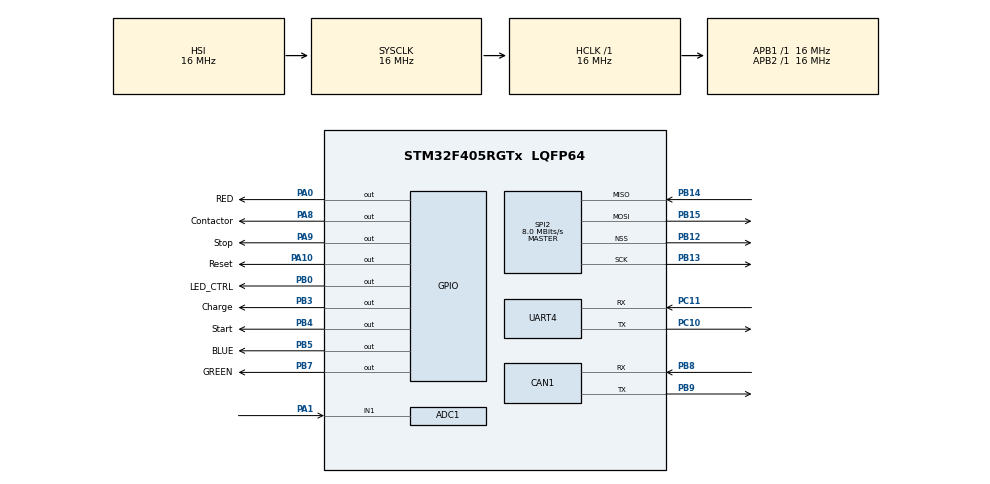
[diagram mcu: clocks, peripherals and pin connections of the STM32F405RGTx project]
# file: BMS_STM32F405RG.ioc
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Mcu.Family=STM32F4
SPI2.VirtualNSS=VM_NSSHARD
RCC.CortexFreq_Value=16000000
SPI2.VirtualType=VM_MASTER
PC10.Signal=UART4_TX
PB0.GPIO_Label=LED_CTRL
PB13.Signal=SPI2_SCK
PB15.Signal=SPI2_MOSI
ProjectManager.StackSize=0x400
VP_FREERTOS_VS_CMSIS_V2.Mode=CMSIS_V2
RCC.AHBFreq_Value=16000000
ADC1.Channel-0\#ChannelRegularConversion=ADC_CHANNEL_1
RCC.HSE_VALUE=25000000
PC14-OSC32_IN.Mode=LSE-External-Oscillator
PB14.Mode=Full_Duplex_Master
PA10.GPIO_Label=Reset
SPI2.CalculateBaudRate=8.0 MBits/s
PB7.Signal=GPIO_Output
PA8.Signal=GPIO_Output
ADC1.SamplingTime-0\#ChannelRegularConversion=ADC_SAMPLETIME_3CYCLES
PB7.GPIO_Label=GREEN
Mcu.Package=LQFP64
PB9.Signal=CAN1_TX
PB12.Mode=NSS_Signal_Hard_Output
SPI2.Mode=SPI_MODE_MASTER
PA10.Signal=GPIO_Output
PC11.Mode=Asynchronous
SH.ADCx_IN1.0=ADC1_IN1,IN1
PB5.GPIO_Label=BLUE
SPI2.Direction=SPI_DIRECTION_2LINES
PB13.Mode=Full_Duplex_Master
PB4.Signal=GPIO_Output
CAN1.CalculateTimeQuantum=1000.0
PB3.GPIO_Label=Charge
PC15-OSC32_OUT.Mode=LSE-External-Oscillator
FREERTOS.Tasks01=defaultTask,24,128,StartDefaultTask,Default,NULL,Dynamic,NULL,NULL;Measurements,32,128,StartMeasurments,Default,NULL,Dynamic,NULL,NULL
ADC1.Rank-0\#ChannelRegularConversion=1
PA9.GPIO_Label=Stop
PC11.Signal=UART4_RX
PC10.Mode=Asynchronous
UART4.VirtualMode=Asynchronous
PC14-OSC32_IN.Signal=RCC_OSC32_IN
PA0-WKUP.GPIO_Label=RED
PA0-WKUP.Signal=GPIO_Output
PA8.GPIO_Label=Contactor
ProjectManager.TargetToolchain=STM32CubeIDE
PB9.Mode=Master
PA9.Signal=GPIO_Output
PC15-OSC32_OUT.Signal=RCC_OSC32_OUT
PA1.Signal=ADCx_IN1
PB14.Signal=SPI2_MISO
board=custom
RCC.VCOOutputFreq_Value=192000000
PB15.Mode=Full_Duplex_Master
RCC.APB2Freq_Value=16000000
PB4.GPIO_Label=Start
Mcu.Name=STM32F405RGTx
PB3.Signal=GPIO_Output
RCC.SYSCLKFreq_VALUE=16000000
PB5.Signal=GPIO_Output
ADC1.master=1
ProjectManager.HeapSize=0x200
RCC.HSI_VALUE=16000000
NVIC.PriorityGroup=NVIC_PRIORITYGROUP_4
ADC1.NbrOfConversionFlag=1
PB8.Mode=Master
PB8.Signal=CAN1_RX
RCC.APB1Freq_Value=16000000
PB0.Signal=GPIO_Output
PB12.Signal=SPI2_NSS

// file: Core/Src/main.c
/* USER CODE BEGIN Header */
/**
  ******************************************************************************
  * @file           : main.c
  * @brief          : Main program body
  ******************************************************************************
  * @attention
  *
  * <h2><center>&copy; Copyright (c) 2020 STMicroelectronics.
  * All rights reserved.</center></h2>
  *
  * This software component is licensed by ST under BSD 3-Clause license,
  * the "License"; You may not use this file except in compliance with the
  * License. You may obtain a copy of the License at:
  *                        opensource.org/licenses/BSD-3-Clause
  *
  ******************************************************************************
  */
/* USER CODE END Header */
#include "main.h"
#include "cmsis_os.h"

/* USER CODE BEGIN Includes */
#include <stdio.h>
#include <string.h>
#include "led.h"
/* USER CODE END Includes */

ADC_HandleTypeDef hadc1;

CAN_HandleTypeDef hcan1;

SPI_HandleTypeDef hspi2;

UART_HandleTypeDef huart4;

/* Definitions for defaultTask */
osThreadId_t defaultTaskHandle;
const osThreadAttr_t defaultTask_attributes = {
  .name = "defaultTask",
  .priority = (osPriority_t) osPriorityNormal,
  .stack_size = 128 * 4
};
/* Definitions for Measurements */
osThreadId_t MeasurementsHandle;
const osThreadAttr_t Measurements_attributes = {
  .name = "Measurements",
  .priority = (osPriority_t) osPriorityAboveNormal,
  .stack_size = 128 * 4
};

void SystemClock_Config(void);
static void MX_GPIO_Init(void);
static void MX_CAN1_Init(void);
static void MX_SPI2_Init(void);
static void MX_ADC1_Init(void);
static void MX_UART4_Init(void);
void StartDefaultTask(void *argument);
void StartMeasurments(void *argument);

/* USER CODE BEGIN 0 */

/* Initializing a structure variable for the battery pack */
Battery BatteryPack;

void BatteryInit(void) {
	BatteryPack.voltage = 0;
	BatteryPack.current = 0;
	BatteryPack.temperature = 0;
	for (int i = 0; i < numCells; i++) {
		Cell cell = {
			.voltage = 0,
			.temperature = 0
		};
		BatteryPack.cells[i] = cell;
	}
}

/* This is created to display the state name in serial terminal. */
const char *StateNames[] = {
  "Initialize",
  "Idle",
  "Precharging",
  "Run",
  "Stop",
  "Sleep",
  "NormalDangerFault",
  "SevereDangerFault",
  "Charging",
  "Charged",
  "Balancing"
};

State_t CurrentState = Initialize;
State_t OldState = Sleep;

StateMachine SM[11] = {
    {Initialize, InitializeEvent},
	{Idle, IdleEvent},
	{Precharging, PrechargingEvent},
	{Run, RunEvent},
	{Stop, StopEvent},
	{Sleep, SleepEvent},
	{NormalDangerFault, NormalDangerFaultEvent},
	{SevereDangerFault, SevereDangerFaultEvent},
	{Charging, ChargingEvent},
	{Charged, ChargedEvent},
	{Balancing, BalancingEvent}
};

/* USER CODE END 0 */

int main(void)
{

  /* MCU Configuration--------------------------------------------------------*/

  /* Reset of all peripherals, Initializes the Flash interface and the Systick. */
  HAL_Init();

  /* Configure the system clock */
  SystemClock_Config();

  /* Initialize all configured peripherals */
  MX_GPIO_Init();
  MX_CAN1_Init();
  MX_SPI2_Init();
  MX_ADC1_Init();
  MX_UART4_Init();
  /* USER CODE BEGIN 2 */
  BatteryInit();
  /* USER CODE END 2 */

  /* Init scheduler */
  osKernelInitialize();

  /* Create the thread(s) */
  /* creation of defaultTask */
  defaultTaskHandle = osThreadNew(StartDefaultTask, NULL, &defaultTask_attributes);

  /* creation of Measurements */
  MeasurementsHandle = osThreadNew(StartMeasurments, NULL, &Measurements_attributes);

  /* Start scheduler */
  osKernelStart();

  /* We should never get here as control is now taken by the scheduler */
  /* Infinite loop */
  while (1)
  {

  }
}

void SystemClock_Config(void)
{
  RCC_OscInitTypeDef RCC_OscInitStruct = {0};
  RCC_ClkInitTypeDef RCC_ClkInitStruct = {0};

  /** Configure the main internal regulator output voltage
  */
  __HAL_RCC_PWR_CLK_ENABLE();
  __HAL_PWR_VOLTAGESCALING_CONFIG(PWR_REGULATOR_VOLTAGE_SCALE1);
  /** Initializes the RCC Oscillators according to the specified parameters
  * in the RCC_OscInitTypeDef structure.
  */
  RCC_OscInitStruct.OscillatorType = RCC_OSCILLATORTYPE_HSI;
  RCC_OscInitStruct.HSIState = RCC_HSI_ON;
  RCC_OscInitStruct.HSICalibrationValue = RCC_HSICALIBRATION_DEFAULT;
  RCC_OscInitStruct.PLL.PLLState = RCC_PLL_NONE;
  if (HAL_RCC_OscConfig(&RCC_OscInitStruct) != HAL_OK)
  {
    Error_Handler();
  }
  /** Initializes the CPU, AHB and APB buses clocks
  */
  RCC_ClkInitStruct.ClockType = RCC_CLOCKTYPE_HCLK|RCC_CLOCKTYPE_SYSCLK
                              |RCC_CLOCKTYPE_PCLK1|RCC_CLOCKTYPE_PCLK2;
  RCC_ClkInitStruct.SYSCLKSource = RCC_SYSCLKSOURCE_HSI;
  RCC_ClkInitStruct.AHBCLKDivider = RCC_SYSCLK_DIV1;
  RCC_ClkInitStruct.APB1CLKDivider = RCC_HCLK_DIV1;
  RCC_ClkInitStruct.APB2CLKDivider = RCC_HCLK_DIV1;

  if (HAL_RCC_ClockConfig(&RCC_ClkInitStruct, FLASH_LATENCY_0) != HAL_OK)
  {
    Error_Handler();
  }
}

static void MX_ADC1_Init(void)
{

  ADC_ChannelConfTypeDef sConfig = {0};

  /** Configure the global features of the ADC (Clock, Resolution, Data Alignment and number of conversion)
  */
  hadc1.Instance = ADC1;
  hadc1.Init.ClockPrescaler = ADC_CLOCK_SYNC_PCLK_DIV2;
  hadc1.Init.Resolution = ADC_RESOLUTION_12B;
  hadc1.Init.ScanConvMode = DISABLE;
  hadc1.Init.ContinuousConvMode = DISABLE;
  hadc1.Init.DiscontinuousConvMode = DISABLE;
  hadc1.Init.ExternalTrigConvEdge = ADC_EXTERNALTRIGCONVEDGE_NONE;
  hadc1.Init.ExternalTrigConv = ADC_SOFTWARE_START;
  hadc1.Init.DataAlign = ADC_DATAALIGN_RIGHT;
  hadc1.Init.NbrOfConversion = 1;
  hadc1.Init.DMAContinuousRequests = DISABLE;
  hadc1.Init.EOCSelection = ADC_EOC_SINGLE_CONV;
  if (HAL_ADC_Init(&hadc1) != HAL_OK)
  {
    Error_Handler();
  }
  /** Configure for the selected ADC regular channel its corresponding rank in the sequencer and its sample time.
  */
  sConfig.Channel = ADC_CHANNEL_1;
  sConfig.Rank = 1;
  sConfig.SamplingTime = ADC_SAMPLETIME_3CYCLES;
  if (HAL_ADC_ConfigChannel(&hadc1, &sConfig) != HAL_OK)
  {
    Error_Handler();
  }

}

static void MX_CAN1_Init(void)
{

  hcan1.Instance = CAN1;
  hcan1.Init.Prescaler = 16;
  hcan1.Init.Mode = CAN_MODE_NORMAL;
  hcan1.Init.SyncJumpWidth = CAN_SJW_1TQ;
  hcan1.Init.TimeSeg1 = CAN_BS1_1TQ;
  hcan1.Init.TimeSeg2 = CAN_BS2_1TQ;
  hcan1.Init.TimeTriggeredMode = DISABLE;
  hcan1.Init.AutoBusOff = DISABLE;
  hcan1.Init.AutoWakeUp = DISABLE;
  hcan1.Init.AutoRetransmission = DISABLE;
  hcan1.Init.ReceiveFifoLocked = DISABLE;
  hcan1.Init.TransmitFifoPriority = DISABLE;
  if (HAL_CAN_Init(&hcan1) != HAL_OK)
  {
    Error_Handler();
  }

}

static void MX_SPI2_Init(void)
{

  /* SPI2 parameter configuration*/
  hspi2.Instance = SPI2;
  hspi2.Init.Mode = SPI_MODE_MASTER;
  hspi2.Init.Direction = SPI_DIRECTION_2LINES;
  hspi2.Init.DataSize = SPI_DATASIZE_8BIT;
  hspi2.Init.CLKPolarity = SPI_POLARITY_LOW;
  hspi2.Init.CLKPhase = SPI_PHASE_1EDGE;
  hspi2.Init.NSS = SPI_NSS_HARD_OUTPUT;
  hspi2.Init.BaudRatePrescaler = SPI_BAUDRATEPRESCALER_2;
  hspi2.Init.FirstBit = SPI_FIRSTBIT_MSB;
  hspi2.Init.TIMode = SPI_TIMODE_DISABLE;
  hspi2.Init.CRCCalculation = SPI_CRCCALCULATION_DISABLE;
  hspi2.Init.CRCPolynomial = 10;
  if (HAL_SPI_Init(&hspi2) != HAL_OK)
  {
    Error_Handler();
  }

}

static void MX_UART4_Init(void)
{

  huart4.Instance = UART4;
  huart4.Init.BaudRate = 115200;
  huart4.Init.WordLength = UART_WORDLENGTH_8B;
  huart4.Init.StopBits = UART_STOPBITS_1;
  huart4.Init.Parity = UART_PARITY_NONE;
  huart4.Init.Mode = UART_MODE_TX_RX;
  huart4.Init.HwFlowCtl = UART_HWCONTROL_NONE;
  huart4.Init.OverSampling = UART_OVERSAMPLING_16;
  if (HAL_UART_Init(&huart4) != HAL_OK)
  {
    Error_Handler();
  }

}

static void MX_GPIO_Init(void)
{
  GPIO_InitTypeDef GPIO_InitStruct = {0};

  /* GPIO Ports Clock Enable */
  __HAL_RCC_GPIOC_CLK_ENABLE();
  __HAL_RCC_GPIOA_CLK_ENABLE();
  __HAL_RCC_GPIOB_CLK_ENABLE();

  /*Configure GPIO pin Output Level */
  HAL_GPIO_WritePin(GPIOA, RED_Pin|Contactor_Pin|Stop_Pin|Reset_Pin, GPIO_PIN_RESET);

  /*Configure GPIO pin Output Level */
  HAL_GPIO_WritePin(GPIOB, LED_CTRL_Pin|Charge_Pin|Start_Pin|BLUE_Pin
                          |GREEN_Pin, GPIO_PIN_RESET);

  /*Configure GPIO pins : RED_Pin Contactor_Pin Stop_Pin Reset_Pin */
  GPIO_InitStruct.Pin = RED_Pin|Contactor_Pin|Stop_Pin|Reset_Pin;
  GPIO_InitStruct.Mode = GPIO_MODE_OUTPUT_PP;
  GPIO_InitStruct.Pull = GPIO_NOPULL;
  GPIO_InitStruct.Speed = GPIO_SPEED_FREQ_LOW;
  HAL_GPIO_Init(GPIOA, &GPIO_InitStruct);

  /*Configure GPIO pins : LED_CTRL_Pin Charge_Pin Start_Pin BLUE_Pin
                           GREEN_Pin */
  GPIO_InitStruct.Pin = LED_CTRL_Pin|Charge_Pin|Start_Pin|BLUE_Pin
                          |GREEN_Pin;
  GPIO_InitStruct.Mode = GPIO_MODE_OUTPUT_PP;
  GPIO_InitStruct.Pull = GPIO_NOPULL;
  GPIO_InitStruct.Speed = GPIO_SPEED_FREQ_LOW;
  HAL_GPIO_Init(GPIOB, &GPIO_InitStruct);

}

/* USER CODE BEGIN 4 */

/* Defining the conditions necessary for state transitions */

State_t InitializeEvent(void) {
	osDelay(3000); // This is added to show it enters the initialize state for 3 seconds during testing
	return Idle;
}

State_t IdleEvent(void) {
	osThreadResume(MeasurementsHandle); // Resumes measurement if the previous state was Sleep
	HAL_GPIO_WritePin(Contactor_GPIO_Port, Contactor_Pin, 0);
	if (HAL_GPIO_ReadPin(Start_GPIO_Port, Start_Pin)) {
		return Precharging;
	} else if (HAL_GPIO_ReadPin(Charge_GPIO_Port, Charge_Pin)) {
		return Charging;
	} else if (HAL_GPIO_ReadPin(Stop_GPIO_Port, Stop_Pin)) {
		return Sleep;
	} else {
		return Idle;
	}
}

State_t PrechargingEvent(void) {
	osDelay(3000);
	return Run;
}

State_t RunEvent(void) {
	HAL_GPIO_WritePin(Contactor_GPIO_Port, Contactor_Pin, 1);
	if (HAL_GPIO_ReadPin(Stop_GPIO_Port, Stop_Pin)) {
		return Stop;
	} else {
		return Run;
	}
}

State_t StopEvent(void) {
	HAL_GPIO_WritePin(Contactor_GPIO_Port, Contactor_Pin, 0);
	if (HAL_GPIO_ReadPin(Reset_GPIO_Port, Reset_Pin)) {
		return Idle;
	} else {
		return Stop;
	}
}

State_t SleepEvent(void) {
	osThreadSuspend(MeasurementsHandle); // Pauses measurements
	if (HAL_GPIO_ReadPin(Reset_GPIO_Port, Reset_Pin)) {
		return Idle;
	} else {
		return Sleep;
	}
}

State_t NormalDangerFaultEvent(void) {
	HAL_GPIO_WritePin(Contactor_GPIO_Port, Contactor_Pin, 0);
	if (HAL_GPIO_ReadPin(Reset_GPIO_Port, Reset_Pin)) {
		return Idle;
	} else {
		return NormalDangerFault;
	}
}

State_t SevereDangerFaultEvent(void) {
	HAL_GPIO_WritePin(Contactor_GPIO_Port, Contactor_Pin, 0);
	return SevereDangerFault;
}

State_t ChargingEvent(void) {
	HAL_GPIO_WritePin(Contactor_GPIO_Port, Contactor_Pin, 1);
	if (BatteryPack.voltage > 51600) {
		return Charged;
	} else {
		return Charging;
	}
}

State_t ChargedEvent(void) {
	HAL_GPIO_WritePin(Contactor_GPIO_Port, Contactor_Pin, 0);
	if (HAL_GPIO_ReadPin(Reset_GPIO_Port, Reset_Pin)) {
		return Idle;
	} else {
		return Charged;
	}
}

State_t BalancingEvent(void) {
	return Balancing;
}
/* USER CODE END 4 */

void StartDefaultTask(void *argument)
{
  /* USER CODE BEGIN 5 */
  /* Infinite loop */
  for(;;)
  {
	/* Measure Battery Pack voltage, current, temperature every 200 milliseconds */
	BatteryPack.voltage = 51800; // Should change to a function that grabs data
	BatteryPack.current = 20000; // Should change to a function that grabs data
	BatteryPack.temperature = 30; // Should change to a function that grabs data
	char dataM[100];
	sprintf(dataM, "Voltage: %dmV,  Current: %dmA,  Temperature: %d˚C\r\n", BatteryPack.voltage, BatteryPack.current, BatteryPack.temperature);
	HAL_UART_Transmit(&huart4, (uint8_t*)dataM, strlen(dataM), 500);
	if (BatteryPack.voltage > SevereDangerVoltage || BatteryPack.current > SevereDangerCurrent || BatteryPack.temperature > SevereDangerTemperature) {
		CurrentState = SevereDangerFault;
	} else if (BatteryPack.voltage > NormalDangerVoltage || BatteryPack.current > NormalDangerCurrent || BatteryPack.temperature > NormalDangerTemperature) {
		CurrentState = NormalDangerFault;
	}
    osDelay(200);
  }
  /* USER CODE END 5 */
}

void StartMeasurments(void *argument)
{
  for(;;)
  {
    osDelay(1);
  }
}

void Error_Handler(void)
{
}

/************************ (C) COPYRIGHT STMicroelectronics *****END OF FILE****/
